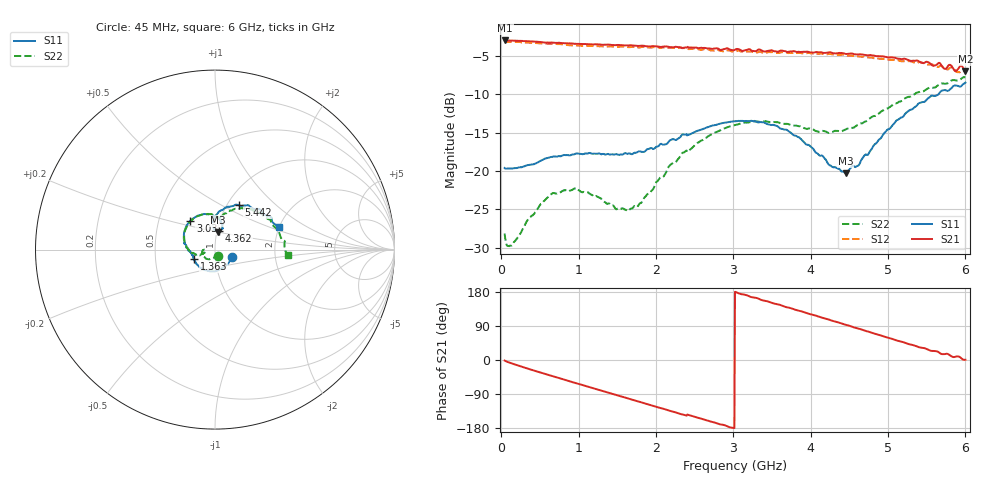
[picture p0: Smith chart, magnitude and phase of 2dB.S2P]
! C:\Users\Aljaz\OneDrive - Univerza v Ljubljani\DOKTORAT\NOVI SA\Slabilec PE43711B\meritve\prototip2\2dB.S2P
! Touchstone 1.1 file saved by VNA.EXE V1.65 (www.ke5fx.com/gpib/readme.htm)
! 18. 04. 2022 18:01:17
!  Source: HP8510C.07.14: Aug 26  1998
!  Min freq: 4.500000E+007 Hz
!  Max freq: 6.000000E+009 Hz
!  Points: 801
!  Params: S11 S21 S12 S22
# GHZ S DB R 50
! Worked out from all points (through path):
!   801 points, 45 MHz to 6 GHz, reference 50 ohm
!   highest |S21| = -3.00 dB at 52.44 MHz (marker M1); lowest = -7.0 dB at 6 GHz (marker M2)
!   group delay of S21, straight-line fit = 165 ps
!   lowest |S11| = -20.3 dB at 4.452 GHz (marker M3), VSWR 1.21, Z = 50.7 + j9.76 ohm
!   |S11| at or under -10 dB: start of sweep to 5.653 GHz
!   |S22| runs from -29.8 to -7.8 dB; largest |S21 - S12| = 0.044
!   S11 on the Smith chart (normalised r, x): 45 MHz: 1.21, -0.10; 1.363 GHz: 0.79, -0.08; 3.03 GHz: 0.72, +0.24; 4.362 GHz: 1.02, +0.21; 5.442 GHz: 1.13, +0.61; 6 GHz: 1.99, +0.58
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0.045  -19.60 -22.5  -3.00 -1.5  -3.24 -1.6  -28.13 -64.0
0.05244375  -19.66 -21.9  -3.00 -2.4  -3.22 -2.5  -28.72 -62.3
0.1492125  -19.65 -30.8  -3.02 -9.8  -3.18 -9.8  -29.50 -69.2
0.6479438  -18.17 -99.2  -3.27 -41.6  -3.43 -41.3  -23.00 -135.1
1.042463  -17.79 -135.4  -3.46 -65.5  -3.71 -65.6  -22.74 -166.1
1.362544  -17.82 -155.8  -3.56 -84.6  -3.78 -84.4  -24.24 -179.6
1.660294  -17.71 -167.6  -3.64 -102.6  -3.87 -101.9  -25.01 -170.2
2.032481  -16.75 -178.0  -3.79 -125.3  -3.89 -124.7  -21.17 -159.8
2.36745  -15.27 168.0  -3.94 -144.9  -3.99 -144.9  -17.55 -173.0
2.434444  -15.24 167.3  -3.92 -145.8  -4.11 -145.9  -17.27 -174.7
2.791744  -13.95 146.6  -4.02 -167.3  -4.14 -167.5  -14.87 161.4
3.0225  -13.52 131.2  -4.20 179.9  -4.45 179.4  -14.00 145.0
3.029944  -13.51 130.8  -4.16 179.4  -4.45 179.1  -14.00 144.5
3.476569  -13.98 100.6  -4.31 152.8  -4.52 152.6  -13.62 114.5
4.019963  -16.97 73.1  -4.56 119.6  -4.68 119.4  -14.54 88.4
4.362375  -19.63 78.4  -4.63 98.9  -4.87 98.6  -14.79 81.9
4.4517  -20.29 80.5  -4.75 93.0  -4.95 92.8  -14.59 79.2
4.608019  -19.33 91.5  -4.83 83.5  -5.09 83.3  -14.01 76.2
5.009981  -14.57 88.7  -5.21 58.5  -5.51 59.0  -11.75 61.0
5.441719  -11.02 62.2  -5.93 32.0  -5.89 32.8  -9.67 34.8
5.717137  -9.47 41.8  -6.59 15.3  -6.50 16.2  -8.61 16.6
6  -8.49 19.4  -7.02 0.7  -7.09 2.1  -7.81 -4.0
